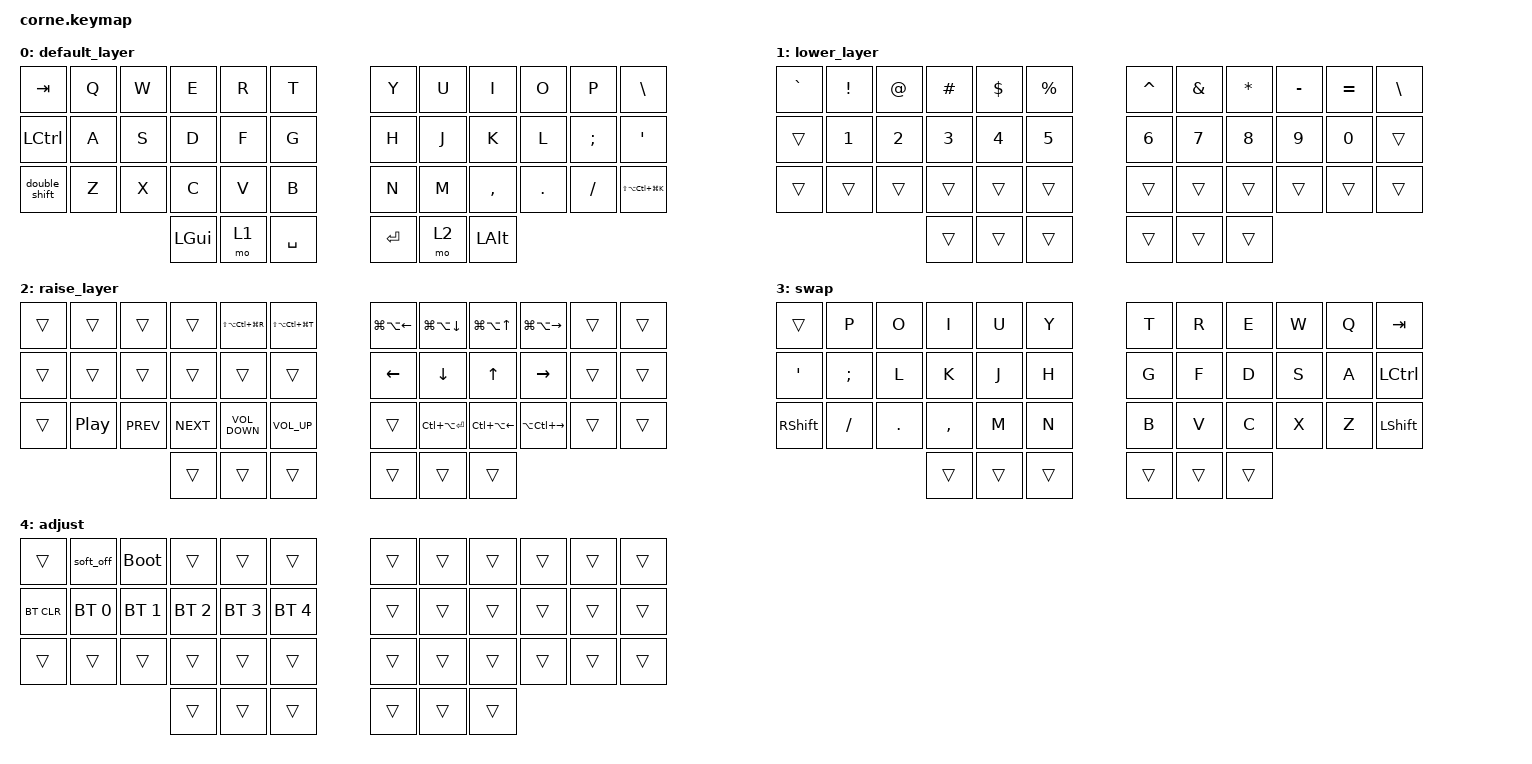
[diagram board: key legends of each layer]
/*
 * Copyright (c) 2020 The ZMK Contributors
 *
 * SPDX-License-Identifier: MIT
 */

#include <behaviors.dtsi>
#include <dt-bindings/zmk/bt.h>
#include <dt-bindings/zmk/keys.h>

/ {
    combos {
        compatible = "zmk,combos";

        right_parens {
            bindings = <&kp RIGHT_PARENTHESIS>;
            key-positions = <18 19>;
        };

        right_bracket {
            bindings = <&kp RIGHT_BRACKET>;
            key-positions = <6 7>;
        };

        right_brace {
            bindings = <&kp RIGHT_BRACE>;
            key-positions = <30 31>;
        };

        left_bracket {
            bindings = <&kp LEFT_BRACKET>;
            key-positions = <4 5>;
        };

        left_parens {
            bindings = <&kp LEFT_PARENTHESIS>;
            key-positions = <16 17>;
        };

        left_brace {
            bindings = <&kp LEFT_BRACE>;
            key-positions = <28 29>;
        };

        esc {
            bindings = <&kp ESCAPE>;
            key-positions = <19 20>;
        };

        backspace {
            bindings = <&kp BACKSPACE>;
            key-positions = <20 21>;
        };
    };

    behaviors {
        double_shift: double_shift {
            compatible = "zmk,behavior-tap-dance";
            label = "DOUBLE_SHIFT";
            #binding-cells = <0>;
            bindings = <&kp LSHIFT>, <&caps_word>;
        };
    };

    keymap {
        compatible = "zmk,keymap";

        default_layer {
            // -----------------------------------------------------------------------------------------
            // |  TAB |  Q  |  W  |  E  |  R  |  T  |   |  Y  |  U   |  I  |  O  |  P  | BKSP |
            // | CTRL |  A  |  S  |  D  |  F  |  G  |   |  H  |  J   |  K  |  L  |  ;  |  '   |
            // | SHFT |  Z  |  X  |  C  |  V  |  B  |   |  N  |  M   |  ,  |  .  |  /  | ESC  |
            //                    | GUI | LWR | SPC |   | ENT | RSE  | ALT |

            bindings = <
&kp TAB        &kp Q  &kp W  &kp E     &kp R  &kp T        &kp Y    &kp U  &kp I         &kp O    &kp P     &kp BACKSLASH
&kp LCTRL      &kp A  &kp S  &kp D     &kp F  &kp G        &kp H    &kp J  &kp K         &kp L    &kp SEMI  &kp SQT
&double_shift  &kp Z  &kp X  &kp C     &kp V  &kp B        &kp N    &kp M  &kp COMMA     &kp DOT  &kp FSLH  &kp LS(LA(LC(LG(K))))
                             &kp LGUI  &mo 1  &kp SPACE    &kp RET  &mo 2  &kp LEFT_ALT
            >;
        };

        lower_layer {
            // -----------------------------------------------------------------------------------------
            // |  TAB |  1  |  2  |  3  |  4  |  5  |   |  6  |  7  |  8  |  9  |  0  | BKSP |
            // | BTCLR| BT1 | BT2 | BT3 | BT4 | BT5 |   | LFT | DWN |  UP | RGT |     |      |
            // | SHFT |     |     |     |     |     |   |     |     |     |     |     |      |
            //                    | GUI |     | SPC |   | ENT |     | ALT |

            bindings = <
&kp GRAVE  &kp EXCL  &kp AT  &kp HASH  &kp DOLLAR  &kp PERCENT    &kp CARET  &kp AMPERSAND  &kp STAR  &kp MINUS  &kp EQUAL  &kp BACKSLASH
&trans     &kp N1    &kp N2  &kp N3    &kp N4      &kp N5         &kp N6     &kp N7         &kp N8    &kp N9     &kp N0     &trans
&trans     &trans    &trans  &trans    &trans      &trans         &trans     &trans         &trans    &trans     &trans     &trans
                             &trans    &trans      &trans         &trans     &trans         &trans
            >;
        };

        raise_layer {
            // -----------------------------------------------------------------------------------------
            // |  TAB |  !  |  @  |  #  |  $  |  %  |   |  ^  |  &  |  *  |  (  |  )  | BKSP |
            // | CTRL |     |     |     |     |     |   |  -  |  =  |  [  |  ]  |  \  |  `   |
            // | SHFT |     |     |     |     |     |   |  _  |  +  |  {  |  }  | "|" |  ~   |
            //                    | GUI |     | SPC |   | ENT |     | ALT |

            bindings = <
&trans  &trans            &trans      &trans      &kp LS(LA(LC(LG(R))))  &kp LS(LA(LC(LG(T))))    &kp LG(LA(LEFT_ARROW))  &kp LG(LA(DOWN_ARROW))  &kp LG(LA(UP_ARROW))    &kp LG(LA(RIGHT))  &trans  &trans
&trans  &trans            &trans      &trans      &trans                 &trans                   &kp LEFT                &kp DOWN                &kp UP                  &kp RIGHT          &trans  &trans
&trans  &kp C_PLAY_PAUSE  &kp C_PREV  &kp C_NEXT  &kp C_VOLUME_DOWN      &kp C_VOLUME_UP          &trans                  &kp LC(LA(ENTER))       &kp LC(LA(LEFT_ARROW))  &kp LA(LC(RIGHT))  &trans  &trans
                                      &trans      &trans                 &trans                   &trans                  &trans                  &trans
            >;
        };

        swap {
            bindings = <
&trans     &kp P     &kp O    &kp I      &kp U   &kp Y     &kp T   &kp R   &kp E   &kp W  &kp Q  &kp TAB
&kp SQT    &kp SEMI  &kp L    &kp K      &kp J   &kp H     &kp G   &kp F   &kp D   &kp S  &kp A  &kp LCTRL
&kp RSHFT  &kp FSLH  &kp DOT  &kp COMMA  &kp M   &kp N     &kp B   &kp V   &kp C   &kp X  &kp Z  &kp LSHFT
                              &trans     &trans  &trans    &trans  &trans  &trans
            >;
        };

        adjust {
            bindings = <
&trans      &soft_off     &bootloader   &trans        &trans        &trans          &trans  &trans  &trans  &trans  &trans  &trans
&bt BT_CLR  &bt BT_SEL 0  &bt BT_SEL 1  &bt BT_SEL 2  &bt BT_SEL 3  &bt BT_SEL 4    &trans  &trans  &trans  &trans  &trans  &trans
&trans      &trans        &trans        &trans        &trans        &trans          &trans  &trans  &trans  &trans  &trans  &trans
                                        &trans        &trans        &trans          &trans  &trans  &trans
            >;
        };
    };

    conditional_layers {
        compatible = "zmk,conditional-layers";

        adjust {
            if-layers = <1 2>;
            then-layer = <4>;
        };
    };
};
